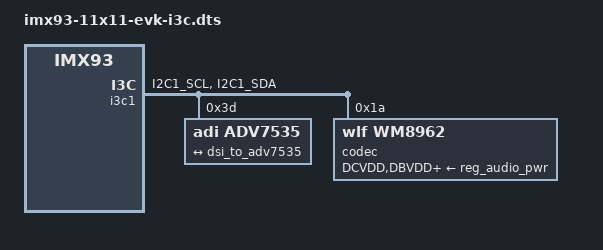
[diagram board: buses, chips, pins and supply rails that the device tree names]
// SPDX-License-Identifier: (GPL-2.0+ OR MIT)
/*
 * Copyright 2022 NXP
 */

#include "imx93-11x11-evk.dts"
#include <dt-bindings/i3c/i3c.h>

/{
	aliases {
		/delete-property/ i2c0;
	};
};

/delete-node/&lpi2c1;

&i3c1 {
	pinctrl-names = "default";
	pinctrl-0 = <&pinctrl_i3c1>;
	i2c-scl-hz = <400000>;
	status = "okay";

	adv7535: hdmi@3d {
		compatible = "adi,adv7535";
		reg = <0x3d 0x00 (I2C_FM | I2C_NO_FILTER_LOW_FREQUENCY)>;
		adi,addr-cec = <0x3b>;
		adi,dsi-lanes = <4>;
		status = "okay";

		port {
			adv7535_to_dsi: endpoint {
				remote-endpoint = <&dsi_to_adv7535>;
			};
		};
	};

	/* i2c devices */
	codec: wm8962@1a {
		compatible = "wlf,wm8962";
		reg = <0x1a 0x00 (I2C_FM | I2C_NO_FILTER_LOW_FREQUENCY)>;
		clocks = <&clk IMX93_CLK_SAI3_GATE>;
		DCVDD-supply = <&reg_audio_pwr>;
		DBVDD-supply = <&reg_audio_pwr>;
		AVDD-supply = <&reg_audio_pwr>;
		CPVDD-supply = <&reg_audio_pwr>;
		MICVDD-supply = <&reg_audio_pwr>;
		PLLVDD-supply = <&reg_audio_pwr>;
		SPKVDD1-supply = <&reg_audio_pwr>;
		SPKVDD2-supply = <&reg_audio_pwr>;
		gpio-cfg = <
			0x0000 /* 0:Default */
			0x0000 /* 1:Default */
			0x0000 /* 2:FN_DMICCLK */
			0x0000 /* 3:Default */
			0x0000 /* 4:FN_DMICCDAT */
			0x0000 /* 5:Default */
		>;
	};
};

&iomuxc {
	pinctrl_i3c1: i3c1grp {
		fsl,pins = <
			MX93_PAD_I2C1_SCL__I3C1_SCL	0x40000186
			MX93_PAD_I2C1_SDA__I3C1_SDA	0x40000186
		>;
	};
};
